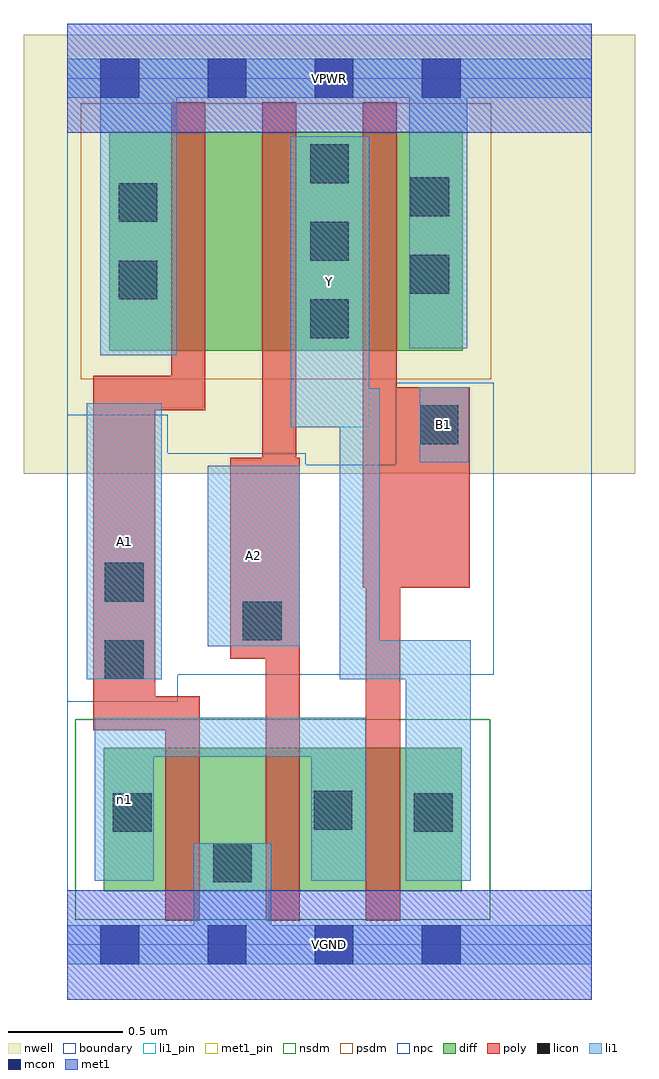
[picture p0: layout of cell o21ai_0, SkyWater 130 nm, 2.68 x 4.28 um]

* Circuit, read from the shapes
.subckt o21ai_0 A1 A2 B1 VGND VPWR Y n1
XM1 VGND A1 n1 VSUBS sky130_fd_pr__nfet_01v8 w=0.63 l=0.15
XM2 n1 A2 VGND VSUBS sky130_fd_pr__nfet_01v8 w=0.63 l=0.15
XM3 Y B1 n1 VSUBS sky130_fd_pr__nfet_01v8 w=0.63 l=0.15
XM4 n2 A1 VPWR n3 sky130_fd_pr__pfet_01v8 w=0.96 l=0.15
XM5 Y A2 n2 n3 sky130_fd_pr__pfet_01v8 w=0.96 l=0.15
XM6 VPWR B1 Y n3 sky130_fd_pr__pfet_01v8 w=0.96 l=0.15
.ends

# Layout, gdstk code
import gdstk
lib = gdstk.Library(unit=1e-6, precision=1e-09)
def R(c, l, rs):  # rectangles x0, y0, x1, y1
    for r in rs: c.add(gdstk.rectangle(r[:2], r[2:], *l))
def A(c, l, x, y, w, h, nx, ny, dx, dy):  # array of equal rectangles
    R(c, l, [(x+i*dx, y+j*dy, x+i*dx+w, y+j*dy+h) for i in range(nx) for j in range(ny)])
nwell = (64, 20)
diff = (65, 20)
poly = (66, 20)
licon = (66, 44)
li1_pin = (67, 16)
li1 = (67, 20)
mcon = (67, 44)
met1_pin = (68, 16)
met1 = (68, 20)
nsdm = (93, 44)
psdm = (94, 20)
npc = (95, 20)
boundary = (235, 4)

o21ai_0 = lib.new_cell('o21ai_0')
R(o21ai_0, nwell, [(-0.19,2.065,2.49,3.99), (0,2.065,2.3,3.99)])
R(o21ai_0, diff, [(0.16,0.235,1.73,0.865), (0.185,2.605,1.735,3.565)])
R(o21ai_0, poly, [(0.43,0.105,0.58,1.09), (0.87,0.105,1.02,2.135), (1.31,0.105,1.46,2.445), (0.115,0.94,0.385,2.495), (0.115,0.94,0.58,1.09), (0.715,1.255,1.02,2.135), (0.855,1.255,1.005,3.695), (1.295,1.565,1.445,3.695), (1.295,1.565,1.765,2.445), (0.115,2.345,0.605,2.495), (0.455,2.345,0.605,3.695)])
A(o21ai_0, licon, 1.065, 2.66, 0.17, 0.17, 1, 3, 0, 0.34)
R(o21ai_0, licon, [(0.64,0.275,0.81,0.445), (0.2,0.495,0.37,0.665), (1.52,0.495,1.69,0.665), (1.08,0.505,1.25,0.675), (0.165,1.165,0.335,1.335), (0.77,1.335,0.94,1.505), (0.165,1.505,0.335,1.675), (1.545,2.195,1.715,2.365), (0.225,2.83,0.395,3), (1.505,2.855,1.675,3.025), (0.225,3.17,0.395,3.34), (1.505,3.195,1.675,3.365)])
R(o21ai_0, li1_pin, [(0.085,1.165,0.415,2.375), (0.615,1.31,1.02,2.1), (1.545,2.115,1.76,2.445), (0.98,2.27,1.325,3.545)])
R(o21ai_0, li1, [(0,-0.085,2.3,0.085), (0.555,-0.085,0.895,0.445), (0.12,0.28,0.38,0.995), (1.07,0.28,1.31,0.995), (1.485,0.28,1.77,1.335), (0.12,0.825,1.31,0.995), (0.085,1.165,0.415,2.375), (1.195,1.165,1.37,2.44), (1.195,1.165,1.77,1.335), (0.615,1.31,1.02,2.1), (0.615,1.31,0.785,1.855), (1.545,2.115,1.76,2.445), (0.98,2.27,1.325,3.545), (0.145,2.585,0.48,3.885), (1.5,2.615,1.755,3.885), (0,3.715,2.3,3.885)])
A(o21ai_0, mcon, 0.145, -0.085, 0.17, 0.17, 4, 2, 0.47, 3.8)
R(o21ai_0, met1_pin, [(0,-0.24,2.3,0.24), (0,3.56,2.3,4.04)])
R(o21ai_0, met1, [(0,-0.24,2.3,0.24), (0,3.56,2.3,4.04)])
R(o21ai_0, nsdm, [(0.035,0.11,1.855,0.99)])
R(o21ai_0, psdm, [(0.06,2.48,1.86,3.69)])
R(o21ai_0, npc, [(0,1.065,0.44,2.325), (0,1.065,0.485,2.155), (0,1.185,1.87,2.105), (0,1.185,1.045,2.155), (1.44,1.185,1.87,2.465)])
R(o21ai_0, boundary, [(0,0,2.3,3.8)])
o21ai_0.add(gdstk.Label('A1', (0.25,1.77), layer=67, texttype=5))
o21ai_0.add(gdstk.Label('A2', (0.817,1.705), layer=67, texttype=5))
o21ai_0.add(gdstk.Label('B1', (1.652,2.28), layer=67, texttype=5))
o21ai_0.add(gdstk.Label('Y', (1.152,2.907), layer=67, texttype=5))
o21ai_0.add(gdstk.Label('n1', (0.25,0.637), layer=67, texttype=5))
o21ai_0.add(gdstk.Label('VPWR', (1.15,3.8), layer=68, texttype=5))
o21ai_0.add(gdstk.Label('VGND', (1.15,0), layer=68, texttype=5))
o21ai_0.add(gdstk.Label('A1', (0.25,1.77), layer=67, texttype=16))
o21ai_0.add(gdstk.Label('A2', (0.817,1.705), layer=67, texttype=16))
o21ai_0.add(gdstk.Label('B1', (1.652,2.28), layer=67, texttype=16))
o21ai_0.add(gdstk.Label('Y', (1.152,2.907), layer=67, texttype=16))
o21ai_0.add(gdstk.Label('VPWR', (1.15,3.8), layer=68, texttype=16))
o21ai_0.add(gdstk.Label('VGND', (1.15,0), layer=68, texttype=16))

lib.write_gds('o21ai_0.gds')
